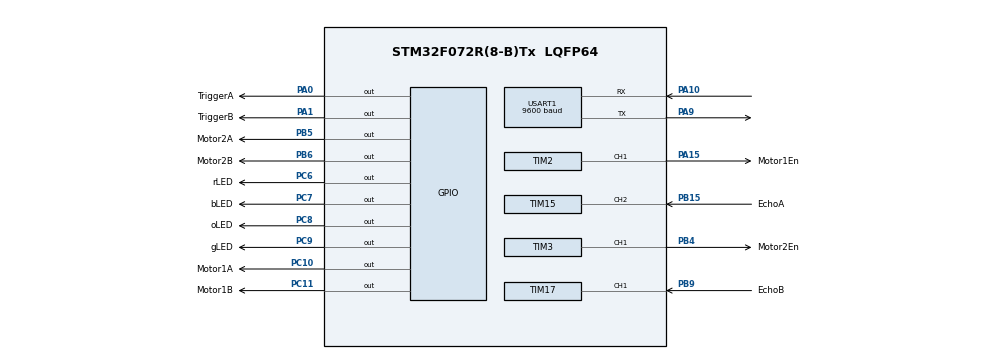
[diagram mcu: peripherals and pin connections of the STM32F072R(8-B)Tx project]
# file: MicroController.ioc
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Mcu.Family=STM32F0
Mcu.Name=STM32F072R(8-B)Tx
Mcu.Package=LQFP64
Mcu.UserConstants=motor1PWM,$$_TIM2_IP_HANDLE_$$;motor2PWM,$$_TIM3_IP_HANDLE_$$
NVIC.TIM15_IRQn=true\:2\:0\:true\:false\:true\:true\:true\:true
NVIC.TIM17_IRQn=true\:0\:0\:false\:false\:true\:true\:true\:true
NVIC.TIM6_DAC_IRQn=true\:2\:0\:true\:false\:true\:true\:true\:true
NVIC.USART1_IRQn=true\:0\:0\:false\:false\:true\:true\:true\:true
PA0.GPIO_Label=TriggerA
PA0.GPIO_Speed=GPIO_SPEED_FREQ_HIGH
PA0.Signal=GPIO_Output
PA1.GPIO_Label=TriggerB
PA1.GPIO_Speed=GPIO_SPEED_FREQ_HIGH
PA1.Signal=GPIO_Output
PA10.Mode=Asynchronous
PA10.Signal=USART1_RX
PA15.GPIO_Label=Motor1En
PA15.Signal=S_TIM2_CH1_ETR
PA9.Mode=Asynchronous
PA9.Signal=USART1_TX
PB15.GPIO_Label=EchoA
PB15.Signal=S_TIM15_CH2
PB4.GPIO_Label=Motor2En
PB4.Signal=S_TIM3_CH1
PB5.GPIO_Label=Motor2A
PB5.Signal=GPIO_Output
PB6.GPIO_Label=Motor2B
PB6.PinState=GPIO_PIN_RESET
PB6.Signal=GPIO_Output
PB9.GPIO_Label=EchoB
PB9.Signal=S_TIM17_CH1
PC10.GPIO_Label=Motor1A
PC10.Signal=GPIO_Output
PC11.GPIO_Label=Motor1B
PC11.PinState=GPIO_PIN_RESET
PC11.Signal=GPIO_Output
PC6.GPIO_Label=rLED
PC6.Signal=GPIO_Output
PC7.GPIO_Label=bLED
PC7.Signal=GPIO_Output
PC8.GPIO_Label=oLED
PC8.Signal=GPIO_Output
PC9.GPIO_Label=gLED
PC9.Signal=GPIO_Output
ProjectManager.HeapSize=0x200
ProjectManager.StackSize=0x400
ProjectManager.TargetToolchain=MDK-ARM V5.32
SH.S_TIM15_CH2.0=TIM15_CH2,Input_Capture2_from_TI2
SH.S_TIM17_CH1.0=TIM17_CH1,Input_Capture1_from_TI1
SH.S_TIM2_CH1_ETR.0=TIM2_CH1,PWM Generation1 CH1
SH.S_TIM3_CH1.0=TIM3_CH1,PWM Generation1 CH1
TIM15.Channel-Input_Capture2_from_TI2=TIM_CHANNEL_2
TIM15.ICPolarity_CH2=TIM_INPUTCHANNELPOLARITY_BOTHEDGE
TIM15.Prescaler=64
TIM17.AutoReloadPreload=TIM_AUTORELOAD_PRELOAD_ENABLE
TIM17.Channel=TIM_CHANNEL_1
TIM17.ICPolarity_CH1=TIM_INPUTCHANNELPOLARITY_BOTHEDGE
TIM17.Prescaler=64
TIM2.Channel-PWM\ Generation1\ CH1=TIM_CHANNEL_1
TIM2.Period=10000
TIM3.Channel-PWM\ Generation1\ CH1=TIM_CHANNEL_1
TIM3.Period=10000
TIM6.AutoReloadPreload=TIM_AUTORELOAD_PRELOAD_ENABLE
TIM6.Period=16000
TIM6.Prescaler=3
TIM6.TIM_MasterOutputTrigger=TIM_TRGO_UPDATE
USART1.BaudRate=9600
USART1.VirtualMode-Asynchronous=VM_ASYNC
VP_TIM17_VS_ClockSourceINT.Mode=Enable_Timer
VP_TIM6_VS_ClockSourceINT.Mode=Enable_Timer
board=custom

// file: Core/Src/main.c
/* USER CODE BEGIN Header */
/**
 ******************************************************************************
 * @file           : main.c
 * @brief          : Main program body
 ******************************************************************************
 * @attention
 *
 * Copyright (c) 2023 STMicroelectronics.
 * All rights reserved.
 *
 * This software is licensed under terms that can be found in the LICENSE file
 * in the root directory of this software component.
 * If no LICENSE file comes with this software, it is provided AS-IS.
 *
 ******************************************************************************
 */
/* USER CODE END Header */
#include "main.h"
#include "tim.h"
#include "usart.h"
#include "gpio.h"

/* USER CODE BEGIN Includes */
#include "motor.h"
#include "ultra_sonic.h"
#include "charBuffer.h"
/* USER CODE END Includes */

/* USER CODE BEGIN PTD */
extern uint16_t frontDist;
extern uint16_t rightDist;
extern int16_t deltaRight;
extern uint8_t freshData;
enum state
{
  searching,
  HugWall,
  curveRight,
  curveLeft,
  turningRight,
  turningLeft,
  reverse,
  unJam
};

uint16_t targetDist;

charBuffer *UsartReadBuffer;
charBuffer *UsartWriteQueue;

/* USER CODE END PTD */

void SystemClock_Config(void);

int main(void)
{
  /* USER CODE BEGIN 1 */
  UsartReadBuffer = NewCharBuffer();
  UsartWriteQueue = NewCharBuffer();
  AppendCharBuffer(UsartWriteQueue, "----------------------------------------------------------------------\r\nUsart Write Buffer Init\r\nAwait further Messages\r\n", 122);
  /* USER CODE END 1 */

  /* MCU Configuration--------------------------------------------------------*/

  /* Reset of all peripherals, Initializes the Flash interface and the Systick. */
  HAL_Init();

  /* Configure the system clock */
  SystemClock_Config();

  /* Initialize all configured peripherals */
  MX_GPIO_Init();
  MX_TIM2_Init();
  MX_TIM3_Init();
  MX_TIM15_Init();
  MX_USART1_UART_Init();
  MX_TIM6_Init();
  MX_TIM17_Init();
  /* USER CODE BEGIN 2 */
  HAL_TIM_IC_Start_IT(&htim15, TIM_CHANNEL_2);
  HAL_TIM_IC_Start_IT(&htim17, TIM_CHANNEL_1);
  // HAL_TIM_Base_Start_IT(&htim15);

  ultra_init();

  HAL_TIM_Base_Start_IT(&htim6);
  maneuver_init();

  // MoveForward(25, 125);
  // motorIdle(30);
  // MoveBackward(50, 125);
  // motorIdle(30);
  // turnRight(75, 125);
  // motorIdle(30);
  // turnLeft(125, 125);
  // motorIdle(30);
  /* USER CODE END 2 */

  /* Infinite loop */
  /* USER CODE BEGIN WHILE */
  // uint16_t turn90 = 10;
  uint16_t power = 31;
  frontDist = 500;
  rightDist = 500;
  targetDist = 125;

  uint16_t motorTime = 5;
  uint16_t turnTime = 20;
  uint16_t curveTrim = 10;
  uint16_t RightClose = 50;
  uint16_t probJammed = 30;
  uint16_t RightFar = 100;
  uint16_t RightCorner = 300;
  uint16_t FrontFar = 100;
  uint16_t FrontClose = 50;

  uint16_t lastState = searching;
  uint16_t staleCount = 0;

  enum state currentState = searching;

  while (1)
  {
    // State Actions the action for the new state is executed First then new data is taken
    setTrim(0);
    switch (currentState)
    {
    case searching:
      MoveForward(power, motorTime);
      break;
    case HugWall:
      if (deltaRight > -10)
      {
        setTrim(curveTrim / 2);
      }
      else if (deltaRight < 10)
      {
        setTrim(-curveTrim / 2);
      }
      MoveForward(power, motorTime);
      break;
    case curveRight:
      setTrim(-curveTrim);
      MoveForward(power, motorTime);
      break;
    case curveLeft:
      setTrim(curveTrim);
      MoveForward(power, motorTime);
      break;
    case turningRight:
      turnRight(power, turnTime);
      MoveForward(power, turnTime * 3);
      turnRight(power, turnTime);
      break;
    case turningLeft:
      turnLeft(power, turnTime);
      break;
      // default statements
    case unJam:
      turnRight(power, turnTime);
      MoveBackward(power, turnTime);
      turnLeft(power, turnTime);
      // turnLeft(power,motorTime);
      break;
    case reverse:
      MoveBackward(power, turnTime);
      // turnLeft(power,motorTime);
      break;
    }

    // Spin main till the motor is done And we have new data
    while (motorActive() || freshData < 3)
    {
    }
    // Resets the memory indicating new data has been collected
    // freshData = 0;

    if(currentState == lastState){
      staleCount++;
    }else{
      staleCount = 0;
    }

    lastState = currentState;

    switch (currentState)
    {
    case searching:
      if (frontDist < FrontClose)
      {
        currentState = reverse;
      }
      else if (frontDist < FrontFar)
      {
        currentState = turningLeft;
      }
      else if (rightDist < RightFar)
      {
        currentState = HugWall;
      }
      break;
    case HugWall:
      if (rightDist < probJammed || frontDist < probJammed)
      {
        currentState = unJam;
      }
      else
       if (frontDist < FrontClose)
      {
        currentState = reverse;
      }
      else if (frontDist < FrontFar)
      {
        currentState = turningLeft;
      }
      else if (rightDist > RightCorner)
      {
        currentState = turningRight;
      }
      else if (rightDist > RightFar)
      {
        currentState = curveRight;
      }
      else if (rightDist < RightClose)
      {
        currentState = curveLeft;
      }
      break;
    case curveRight:
      if (rightDist < probJammed || frontDist < probJammed)
      {
        currentState = unJam;
      }
      else
      if (frontDist < FrontClose)
      {
        currentState = reverse;
      }
      else if (frontDist < FrontFar)
      {
        currentState = turningLeft;
      }
      else if (rightDist > RightClose)
      {
        currentState = HugWall;
      }
      break;
    case curveLeft:
      if (rightDist < probJammed || frontDist < probJammed)
      {
        currentState = unJam;
      }
      else
      if (frontDist < FrontClose)
      {
        currentState = reverse;
      }
      else if (frontDist < FrontFar)
      {
        currentState = turningLeft;
      }
      else if (rightDist < RightFar)
      {
        currentState = HugWall;
      }
      break;
    case turningRight:
      if(staleCount > 10){
        currentState = searching;
      }
      else
      if (frontDist < FrontClose)
      {
        currentState = reverse;
      }
      else if (frontDist < FrontFar)
      {
        currentState = turningLeft;
      }
      else if (rightDist < RightFar)
      {
        currentState = HugWall;
      }
      break;
    case turningLeft:
      if (rightDist < probJammed || frontDist < probJammed)
      {
        currentState = unJam;
      }
      else
      if (frontDist < FrontClose)
      {
        currentState = reverse;
      }
      else if (frontDist > FrontFar && rightDist < RightCorner)
      {
        currentState = searching;
      }
      break;
    case unJam:
      if (rightDist > probJammed && frontDist > probJammed)
      {
        currentState = searching;
      }
      break;
    case reverse:
      if (frontDist > FrontClose)
      {
        currentState = turningLeft;
      }
      break;
      // default statements
    }

  }
  // 	(while1){
  // 	while(1){
  //     if(motorActive()){
  //       continue;
  //     }
  // 		if(frontDist >= 125 && rightDist >= 125){
  // 			MoveForward(power, 5);
  // 		}
  // 		else
  // 			break;
  // 	}

  // 	//turnRight(power,50);

  //   while (1)
  //   {
  //     if(motorActive()){
  //       continue;
  //     }
  // 		// if(frontDist >= 125 && rightDist >= targetDist*2){
  //     //   break;
  // 		// }
  //     if(frontDist <= 125 && rightDist <= targetDist){
  //       setTrim(0);
  //       turnLeft(power,20);
  //       continue;
  // 		}
  //     if(frontDist <= 125){
  //       setTrim(0);
  //       MoveBackward(power,20);
  //       turnLeft(power, 50);
  //       continue;
  //     }
  //      if(rightDist > targetDist*4){
  //       setTrim(0);
  //       MoveForward(power, 30);
  //       turnRight(power, 15);
  //       MoveForward(power, 30);
  //       // turnRight(power, 15);

  //       // turnLeft(power,7);
  //       continue;
  //       // MoveForward(power,5);
  //     }

  //     if(deltaRight > 0){
  //       setTrim((targetDist - rightDist)*0.125);
  //     }else{
  //       setTrim((targetDist - rightDist)*0.25);
  //     }
  //     MoveForward(power,1);
  //     // if(rightDist > targetDist){
  //     // trimMotorsRight(1);
  //     //   MoveForward(power,2);
  //     // }else{
  //     //   trimMotorsLeft(1);
  //     //   MoveForward(power,2);
  //     // }
  /* USER CODE END WHILE */

  /* USER CODE BEGIN 3 */
  //   }
  /* USER CODE END 3 */
}

void SystemClock_Config(void)
{
  RCC_OscInitTypeDef RCC_OscInitStruct = {0};
  RCC_ClkInitTypeDef RCC_ClkInitStruct = {0};
  RCC_PeriphCLKInitTypeDef PeriphClkInit = {0};

  /** Initializes the RCC Oscillators according to the specified parameters
   * in the RCC_OscInitTypeDef structure.
   */
  RCC_OscInitStruct.OscillatorType = RCC_OSCILLATORTYPE_HSI;
  RCC_OscInitStruct.HSIState = RCC_HSI_ON;
  RCC_OscInitStruct.HSICalibrationValue = RCC_HSICALIBRATION_DEFAULT;
  RCC_OscInitStruct.PLL.PLLState = RCC_PLL_NONE;
  if (HAL_RCC_OscConfig(&RCC_OscInitStruct) != HAL_OK)
  {
    Error_Handler();
  }

  /** Initializes the CPU, AHB and APB buses clocks
   */
  RCC_ClkInitStruct.ClockType = RCC_CLOCKTYPE_HCLK | RCC_CLOCKTYPE_SYSCLK | RCC_CLOCKTYPE_PCLK1;
  RCC_ClkInitStruct.SYSCLKSource = RCC_SYSCLKSOURCE_HSI;
  RCC_ClkInitStruct.AHBCLKDivider = RCC_SYSCLK_DIV1;
  RCC_ClkInitStruct.APB1CLKDivider = RCC_HCLK_DIV1;

  if (HAL_RCC_ClockConfig(&RCC_ClkInitStruct, FLASH_LATENCY_0) != HAL_OK)
  {
    Error_Handler();
  }
  PeriphClkInit.PeriphClockSelection = RCC_PERIPHCLK_USART1;
  PeriphClkInit.Usart1ClockSelection = RCC_USART1CLKSOURCE_PCLK1;
  if (HAL_RCCEx_PeriphCLKConfig(&PeriphClkInit) != HAL_OK)
  {
    Error_Handler();
  }
}

void Error_Handler(void)
{
  __disable_irq();
  while (1)
  {
  }
}
